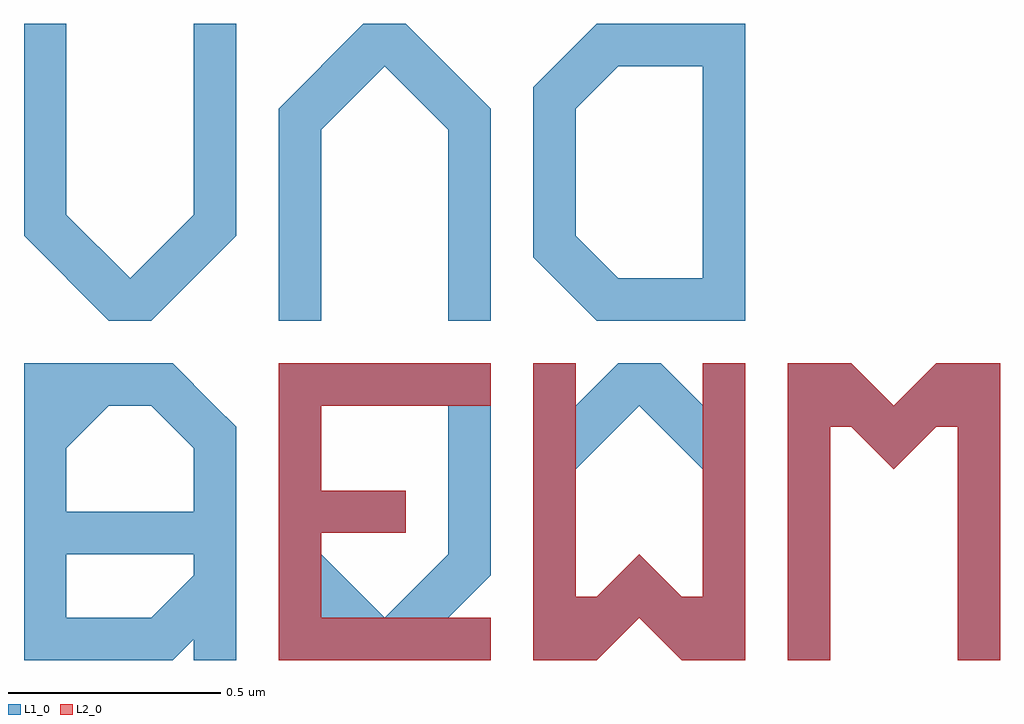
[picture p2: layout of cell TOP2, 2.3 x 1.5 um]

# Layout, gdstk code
from math import pi, radians
import gdstk
lib = gdstk.Library(unit=1e-6, precision=1e-09)
def P(c, l, *ps):  # polygons
    for p in ps: c.add(gdstk.Polygon(p, *l))
L1_0 = (1, 0)
L2_0 = (2, 0)

text_3 = lib.new_cell('TEXT$3')
P(text_3, L1_0, [(0,0),(0,0.7),(0.35,0.7),(0.45,0.6),(0.1,0.6),(0.1,0.1),(0.3,0.1),(0.4,0.2),(0.4,0.5),(0.3,0.6),(0.45,0.6),(0.5,0.55),(0.5,0.15),(0.35,0)])

text_6 = lib.new_cell('TEXT$6')
P(text_6, L1_0, [(0.2,0),(0,0.2),(0,0.7),(0.1,0.7),(0.1,0.25),(0.25,0.1),(0.4,0.25),(0.4,0.7),(0.5,0.7),(0.5,0.2),(0.3,0)])

c_v = lib.new_cell('V')
c_v.add(gdstk.Reference(text_6, (0,0)))

c_d = lib.new_cell('D')
c_d.add(gdstk.Reference(text_3, (0,0)))
c_d.add(gdstk.Reference(c_v, (0.6,0)))
c_d.add(gdstk.Reference(c_v, (1.7,0.7), rotation=pi))

text_11 = lib.new_cell('TEXT$11')
P(text_11, L1_0, [(0,0),(0,0.55),(0.15,0.7),(0.35,0.7),(0.45,0.6),(0.2,0.6),(0.1,0.5),(0.1,0.35),(0.4,0.35),(0.4,0.5),(0.3,0.6),(0.45,0.6),(0.5,0.55),(0.5,0),(0.4,0),(0.4,0.25),(0.1,0.25),(0.1,0)])

text_4 = lib.new_cell('TEXT$4')
P(text_4, L1_0, [(0,0),(0,0.7),(0.5,0.7),(0.5,0.6),(0.1,0.6),(0.1,0.4),(0.3,0.4),(0.3,0.3),(0.1,0.3),(0.1,0.1),(0.5,0.1),(0.5,0)])

text_7 = lib.new_cell('TEXT$7')
P(text_7, L1_0, [(0,0),(0,0.7),(0.1,0.7),(0.1,0.15),(0.15,0.15),(0.25,0.25),(0.35,0.15),(0.4,0.15),(0.4,0.7),(0.5,0.7),(0.5,0),(0.35,0),(0.25,0.1),(0.15,0)])

text_4_1 = lib.new_cell('TEXT$4$1')
P(text_4_1, L2_0, [(0,0),(0,0.7),(0.1,0.7),(0.1,0.15),(0.15,0.15),(0.25,0.25),(0.35,0.15),(0.4,0.15),(0.4,0.7),(0.5,0.7),(0.5,0),(0.35,0),(0.25,0.1),(0.15,0)])

c_w = lib.new_cell('W')
c_w.add(gdstk.Reference(text_7, (0,0)))
c_w.add(gdstk.Reference(text_4_1, (0,0)))

text_3_1 = lib.new_cell('TEXT$3$1')
P(text_3_1, L2_0, [(0,0),(0,0.7),(0.5,0.7),(0.5,0.6),(0.1,0.6),(0.1,0.4),(0.3,0.4),(0.3,0.3),(0.1,0.3),(0.1,0.1),(0.5,0.1),(0.5,0)])

c_e = lib.new_cell('E')
c_e.add(gdstk.Reference(text_4, (0,0)))
c_e.add(gdstk.Reference(c_w, (0.6,0)))
c_e.add(gdstk.Reference(c_w, (1.7,0.7), rotation=pi))
c_e.add(gdstk.Reference(text_3_1, (0,0)))

top2 = lib.new_cell('TOP2')
top2.add(gdstk.Reference(c_d, (0,0)))
top2.add(gdstk.Reference(c_d, (1.7,1.5), rotation=pi))
top2.add(gdstk.Reference(text_11, (0,0)))
top2.add(gdstk.Reference(c_e, (0.6,0)))

lib.write_gds('TOP2.gds')
